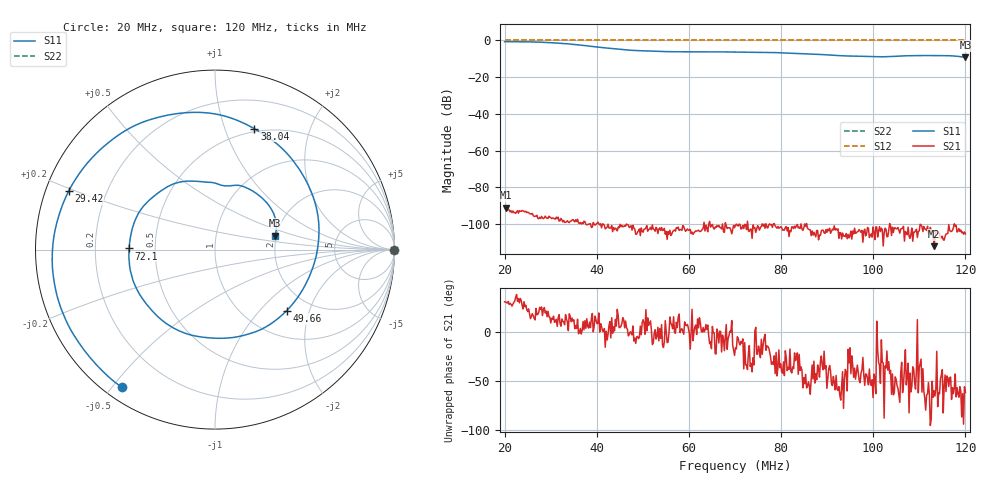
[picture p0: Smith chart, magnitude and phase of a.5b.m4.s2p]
! Anritsu VNA Master:  Model: MS2036C/10/77
! SN:  1601066
! /bd0/18may8/255.ns.m4.s2p
! Existing Calibration Information:
! TYPE:  Current Settings,  Active Cal Settings
! TIME:  05/08/2018 11:07:46 AM,  05/08/2018 10:55:57 AM
! INTERNAL TEMP:  50.8 C,  49.3 C
! # POINTS:  500,  500
! START FREQ:  20.000 MHz,  20.000 MHz
! STOP FREQ:  120.000 MHz,  120.000 MHz
! SOURCE POWER:  High,  High
! IFBW:  50 Hz,  50 Hz
! AVG FACTOR:  1 ,  1
! REF PLANE 1:  0 mm,  0 mm
! REF PLANE 2:  0 mm,  0 mm
! CAL TYPE:  Full S11,  Full S11
! CAL METHOD:  SOLT,  SOLT
! CAL LINE TYPE:  Coax,  Coax
! DUT PORT 1:  K-Conn(F),  K-Conn(F)
! DUT PORT 2:  K-Conn(F),  K-Conn(F)
! CAL STATUS:  OK: Accuracy High,  --
# GHZ S DB R 50.0
! FREQ.GHZ  S11DB  S11A  S21DB  S21A  S12DB  S12A  S22DB  S22A
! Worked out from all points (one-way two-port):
!   500 points, 20 MHz to 120 MHz, reference 50 ohm
!   highest |S21| = -91.01 dB at 20.2 MHz (marker M1); lowest = -111.9 dB at 113.2 MHz (marker M2)
!   lowest |S11| = -9.2 dB at 120 MHz (marker M3), VSWR 2.05, Z = 98.6 + j17.5 ohm
!   |S11| at or under -10 dB: nowhere
!   |S22| runs from 0.0 to 0.0 dB; largest |S21 - S12| = 1
!   S11 on the Smith chart (normalised r, x): 20 MHz: 0.05, -0.53; 29.42 MHz: 0.07, +0.19; 38.04 MHz: 0.47, +1.27; 49.66 MHz: 1.52, -1.43; 72.1 MHz: 0.35, +0.01; 120 MHz: 1.97, +0.35
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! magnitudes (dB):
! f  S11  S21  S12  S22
! 20 MHz  -0.7  -91.1  0.0  0.0
! 20.2 MHz  -0.7  -91.0  0.0  0.0
! 26.01 MHz  -0.8  -94.1  0.0  0.0
! 29.42 MHz  -1.1  -96.8  0.0  0.0
! 33.03 MHz  -1.7  -99.0  0.0  0.0
! 36.83 MHz  -2.6  -99.1  0.0  0.0
! 38.04 MHz  -3.0  -100.2  0.0  0.0
! 46.05 MHz  -5.1  -100.7  0.0  0.0
! 49.66 MHz  -5.6  -102.0  0.0  0.0
! 53.47 MHz  -5.9  -102.7  0.0  0.0
! 56.47 MHz  -6.1  -104.1  0.0  0.0
! 70.1 MHz  -6.3  -100.5  0.0  0.0
! 72.1 MHz  -6.4  -100.0  0.0  0.0
! 77.92 MHz  -6.5  -100.1  0.0  0.0
! 86.73 MHz  -7.4  -103.6  0.0  0.0
! 94.35 MHz  -8.4  -107.9  0.0  0.0
! 101 MHz  -8.9  -106.9  0.0  0.0
! 103.4 MHz  -8.8  -103.3  0.0  0.0
! 107.6 MHz  -8.3  -101.6  0.0  0.0
! 113.2 MHz  -8.2  -111.9  0.0  0.0
! 117 MHz  -8.4  -103.9  0.0  0.0
! 120 MHz  -9.2  -105.3  0.0  0.0
